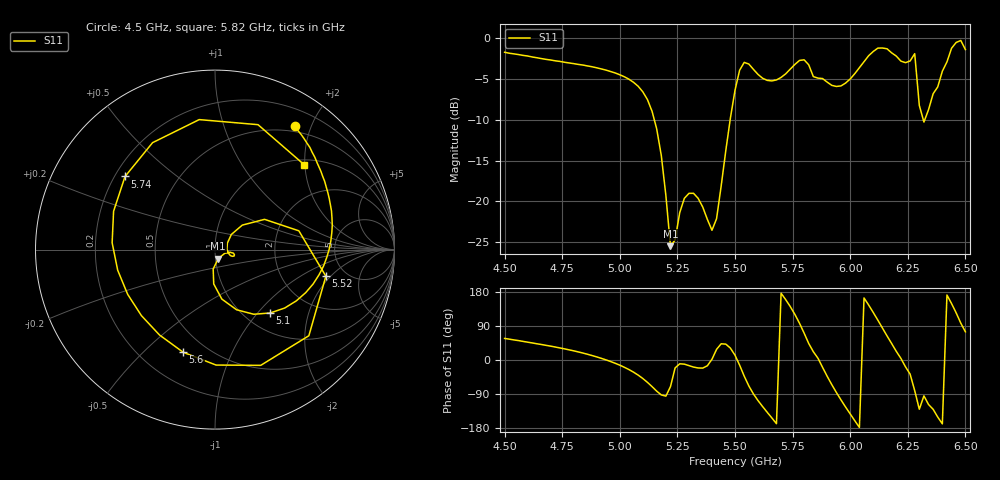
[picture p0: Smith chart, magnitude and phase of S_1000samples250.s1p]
! TOUCHSTONE file generated by CST MICROWAVE STUDIO
! Date and time: Thu Oct 27 12:46:31 2022
! Project name: L.cst
! Parameters = {Di=1.27; Epsilon_r=1.56; InnerDiameter=1.27; Length=2; Lf=10; Lg=60; OuterConductorThickness=0.2921; OuterDiameter=3.6; Wf=3; Wp=41.2; de=1.5; df=6.8; g=0.8; gx=0.525404; gy=1.27534; h=2.34; hf=1.524; px=8.13898; py=14.4639; w=9.7; wx=7.61358; wy=13.1886}
! Header version: 2018
! Port assignment regex: !\s*Touchstone port\s*([0-9]+)\s*=\s*(CST MWS port|CST DS port)\s*([0-9]+|Zmin|Zmax)\s*\(\"(.*)\"\)(\s*mode\s*([0-9]+))?.*
! Touchstone port assignment:
! Touchstone port 1 = CST MWS port 1 ("")
# GHz S DB R 50
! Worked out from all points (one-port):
!   101 points, 4.5 GHz to 6.5 GHz, reference 50 ohm
!   lowest |S11| = -25.5 dB at 5.22 GHz (marker M1), VSWR 1.11, Z = 51.6 - j5.18 ohm
!   |S11| at or under -10 dB: 5.15 GHz to 5.479 GHz (329.3 MHz wide, 6.2 % of centre); 6.317235 GHz to 6.323724 GHz (6.49 MHz wide, 0.103 % of centre)
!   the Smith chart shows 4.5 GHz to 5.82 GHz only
!   S11 on the Smith chart (normalised r, x): 4.5 GHz: 0.42, +1.77; 5.1 GHz: 1.29, -1.17; 5.52 GHz: 3.55, -1.77; 5.6 GHz: 0.37, -0.67; 5.74 GHz: 0.24, +0.34; 5.82 GHz: 1.11, +1.99
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4.5  -1.74 56.9
4.76  -2.96 29.4
5  -4.49 -13.7
5.1  -6.59 -48.9
5.16  -11.10 -82.1
5.22  -25.48 -70.2
5.26  -21.38 -10.0
5.4  -23.53 1.9
5.5  -6.40 12.6
5.52  -3.94 -13.5
5.56  -3.18 -68.4
5.6  -4.45 -107.2
5.74  -3.80 140.9
5.76  -3.22 120.3
5.82  -3.27 43.5
5.92  -5.79 -65.0
6  -5.01 -142.2
6.08  -2.16 145.2
6.14  -1.21 84.3
6.2  -2.20 22.8
6.26  -2.80 -37.2
6.28  -1.91 -80.8
6.3  -8.24 -129.9
6.32  -10.28 -94.6
6.38  -5.98 -150.6
6.44  -1.24 148.8
6.48  -0.29 97.3
6.5  -1.40 74.4
